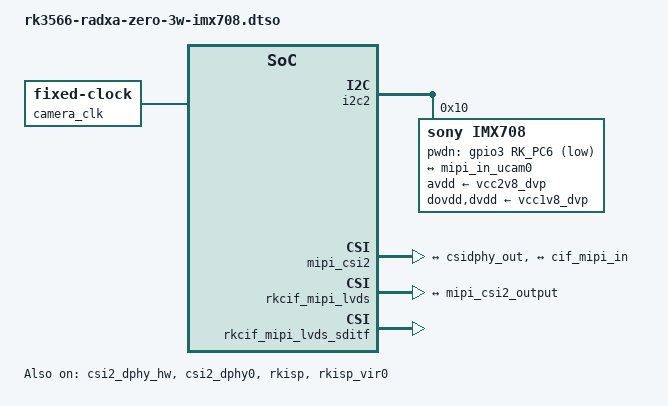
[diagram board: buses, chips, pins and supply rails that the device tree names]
// SPDX-License-Identifier: (GPL-2.0+ OR MIT)
/*
 * Device tree overlay for IMX708 camera support on Radxa Zero 3W
 *
 * Hardware configuration (verified from schematic v1.12):
 *  - CAMERAB_PDN_L is GPIO3_C6 (active-low powerdown)
 *  - CSI connector uses I2C2_SCL_M1 / I2C2_SDA_M1
 *  - 4-lane MIPI CSI-2 interface
 *  - Power rails: vcc2v8_dvp (2.8V) / vcc1v8_dvp (1.8V)
 */

/dts-v1/;
/plugin/;

#include <dt-bindings/gpio/gpio.h>
#include <dt-bindings/pinctrl/rockchip.h>

&{/} {
	/*
	 * If your sensor driver expects an xclk and you don't yet have CIF_CLKOUT
	 * wired as a proper clock provider, keep a fixed-clock placeholder.
	 * (Adjust frequency if your module requires a different xclk.)
	 */
	camera_clk: camera-clk {
		compatible = "fixed-clock";
		#clock-cells = <0>;
		clock-frequency = <24000000>;
		clock-output-names = "cam_clk";
	};
};

&i2c2 {
	status = "okay";
	#address-cells = <1>;
	#size-cells = <0>;

	imx708: imx708@10 {
		compatible = "sony,imx708";
		reg = <0x10>;

		clocks = <&camera_clk>;
		clock-names = "xclk";

		/*
		 * Use the board-provided camera rails from your base DTSI.
		 * Your rk3566-radxa-zero-3.dtsi defines:
		 *  - vcc2v8_dvp (2.8V)
		 *  - vcc1v8_dvp (1.8V)
		 */
		avdd-supply  = <&vcc2v8_dvp>;  /* 2.8V analog */
		dovdd-supply = <&vcc1v8_dvp>;  /* 1.8V I/O */
		dvdd-supply  = <&vcc1v8_dvp>;  /* placeholder; adjust if you add a true 1.2V rail */

		/*
		 * CAMERAB_PDN_L is GPIO3_C6 per schematic (active-low)
		 * Use as powerdown/enable control.
		 */
		pwdn-gpios = <&gpio3 RK_PC6 GPIO_ACTIVE_LOW>;

		pinctrl-names = "default";
		pinctrl-0 = <&cam_pins>;

		port {
			imx708_out: endpoint {
				remote-endpoint = <&mipi_in_ucam0>;
				data-lanes = <1 2 3 4>;
				clock-lanes = <0>;
				link-frequencies = /bits/ 64 <450000000>;
			};
		};
	};
};

/* Enable shared CSI2 D-PHY hardware */
&csi2_dphy_hw {
	status = "okay";
};

/* Configure CSI2 D-PHY0 for 4-lane operation */
&csi2_dphy0 {
	status = "okay";

	ports {
		#address-cells = <1>;
		#size-cells = <0>;

		port@0 {
			reg = <0>;

			mipi_in_ucam0: endpoint@0 {
				reg = <0>;
				remote-endpoint = <&imx708_out>;
				data-lanes = <1 2 3 4>;
			};
		};

		port@1 {
			reg = <1>;

			csidphy_out: endpoint@0 {
				reg = <0>;
				remote-endpoint = <&mipi_csi2_input>;
			};
		};
	};
};

&mipi_csi2 {
	status = "okay";

	ports {
		#address-cells = <1>;
		#size-cells = <0>;

		port@0 {
			reg = <0>;

			mipi_csi2_input: endpoint@0 {
				reg = <0>;
				remote-endpoint = <&csidphy_out>;
			};
		};

		port@1 {
			reg = <1>;

			mipi_csi2_output: endpoint@0 {
				reg = <0>;
				remote-endpoint = <&cif_mipi_in>;
			};
		};
	};
};

&rkcif_mipi_lvds {
	status = "okay";

	ports {
		#address-cells = <1>;
		#size-cells = <0>;

		port@0 {
			reg = <0>;

			cif_mipi_in: endpoint@0 {
				reg = <0>;
				remote-endpoint = <&mipi_csi2_output>;
			};
		};
	};
};

&rkcif_mipi_lvds_sditf {
	status = "okay";
};

&rkisp {
	status = "okay";
};

&rkisp_mmu {
	status = "okay";
};

&rkisp_vir0 {
	status = "okay";

	port {
		isp0_in: endpoint@0 {
			reg = <0>;
			remote-endpoint = <&cif_mipi_in>;
		};
	};
};

&pinctrl {
	camera {
		cam_pins: cam-pins {
			rockchip,pins =
				/* CAMERAB_PDN_L = GPIO3_C6 */
				<3 RK_PC6 RK_FUNC_GPIO &pcfg_pull_none>;
		};
	};
};
